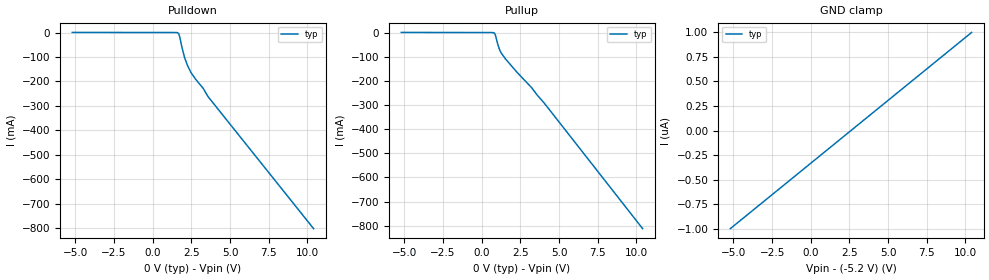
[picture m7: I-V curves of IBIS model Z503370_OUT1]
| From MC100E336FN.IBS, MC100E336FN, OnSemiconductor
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| (C) COPYRIGHT 1993-2000
| MENTOR GRAPHICS CORPORATION
| ICX STANDARD LIBRARY, ICX PROJECT MODELING,
| ICX CUSTOM MODELING, ICX VENDOR MODEL
| ALL RIGHTS RESERVED.
| THE FOLLOWING ARE TRADEMARKS OR SERVICE MARKS OF
| MENTOR GRAPHICS CORPORATION:ICX (R), ICX STANDARD
| LIBRARY(R), ICX PROJECT MODELING(R), ICX CUSTOM
| MODELING(R), qualityIBIS(TM), MODELVIEWER(TM),
| AND MODELEDITOR(TM)
| ALL COPIES OF SOFTWARE, INCLUDING BUT NOT LIMITED TO
| ANY MODIFICATIONS, ENHANCEMENTS OR DERIVATIVE WORKS,
| MUST CONTAIN ALL MENTOR GRAPHICS CORPORATION'S
| NOTICES AND LEGENDS, INCLUDING THOSE EMBEDDED IN
| SOFTWARE AND THOSE AFFIXED TO SOFTWARE MEDIUM
| AND CONTAINER, AS RECEIVED FROM MENTOR GRAPHICS
| CORPORATION.
| Model Application Version 1.89 2/18/99.
[Model] Z503370_OUT1
Model_type Output_ECL
Vref=-2.000V
Rref=50.00ohms
Cref=0.000F
Vmeas=-1.320V
C_comp 8.000pF NA NA
| variable typ   min   max
[Voltage Range] -5.200V NA NA
[POWER Clamp Reference] 0.000V NA NA
[Pullup Reference] 0.000V NA NA
[Pulldown Reference] 0.000V NA NA
[GND Clamp Reference] -5.200V NA NA
[GND Clamp]
-5.2V     -1uA       NA         NA
10.4V     1uA        NA         NA
[Pulldown]
-5.2V     440.5uA    NA         NA
1.641V    -1.921mA   NA         NA
1.695V    -6.908mA   NA         NA
1.762V    -21.02mA   NA         NA
1.893V    -61.35mA   NA         NA
2.066V    -103.1mA   NA         NA
2.252V    -135mA     NA         NA
2.482V    -164.3mA   NA         NA
2.754V    -189.2mA   NA         NA
3.271V    -228.9mA   NA         NA
3.628V    -266.1mA   NA         NA
10.4V     -801.7mA   NA         NA
[Pullup]
-5.2V     603.7uA    NA         NA
804.7mV   -1.703mA   NA         NA
890.6mV   -11.65mA   NA         NA
1.047V    -50.83mA   NA         NA
1.164V    -72.79mA   NA         NA
1.53V     -109.8mA   NA         NA
3.232V    -228.9mA   NA         NA
4.023V    -290.8mA   NA         NA
10.4V     -812.3mA   NA         NA
[POWER Clamp]
-5.2V     0A         NA         NA
10.4V     0A         NA         NA
[Ramp]
| variable typ min max
dV/dt_r 474.6m/324.7p NA NA
dV/dt_f 474.6m/261.5p NA NA
R_load = 500.0Ohms
